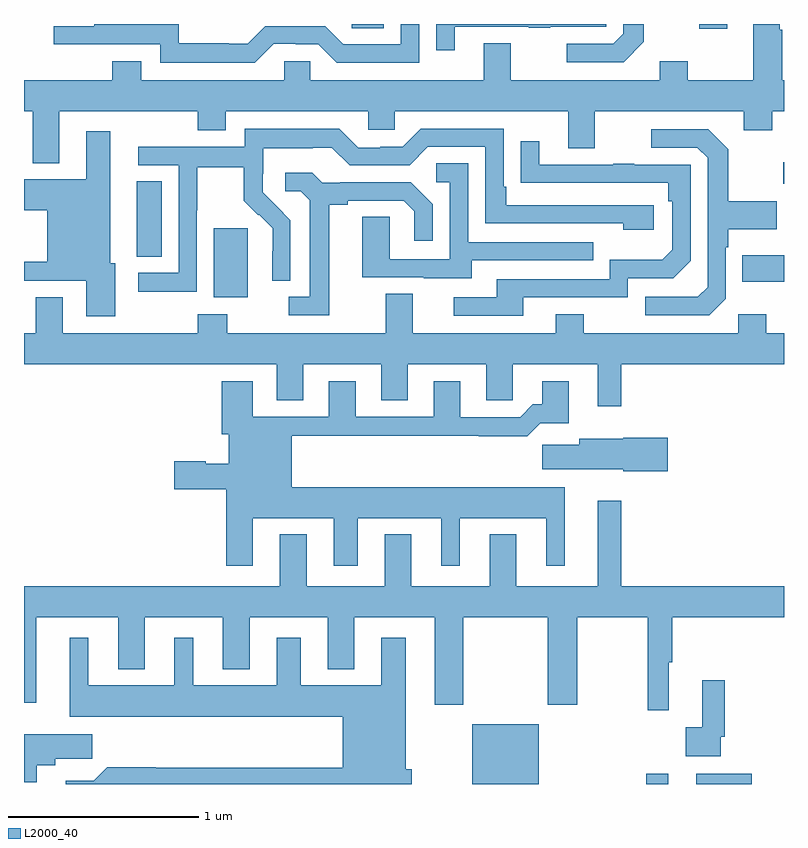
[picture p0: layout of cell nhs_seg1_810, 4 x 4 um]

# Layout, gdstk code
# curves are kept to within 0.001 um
import gdstk
lib = gdstk.Library(unit=1e-6, precision=1e-09)
def R(c, l, rs):  # rectangles x0, y0, x1, y1
    for r in rs: c.add(gdstk.rectangle(r[:2], r[2:], *l))
def P(c, l, *ps):  # polygons
    for p in ps: c.add(gdstk.Polygon(p, *l))
L2000_40 = (2000, 40)

nhs_seg1_810 = lib.new_cell('nhs_seg1_810')
R(nhs_seg1_810, L2000_40, [(157.358,540.199,157.708,540.514), (158.275,540.199,158.392,540.253), (158.537,540.199,158.83,540.253), (155.999,542.762,156.178,543.123), (158.779,542.843,159,542.983), (155.594,542.974,155.725,543.371), (158.997,543.359,159,543.472), (158.553,544.173,158.701,544.199), (156.726,544.177,156.894,544.199)])
P(nhs_seg1_810, L2000_40, [(157.267,544.185),(157.657,544.185),(157.657,544.18),(157.769,544.18),(157.769,544.185),(158.064,544.185),(158.064,544.199),(157.171,544.199),(157.171,544.062),(157.267,544.062)],
  [(155.185,543.74),(155.914,543.74),(155.914,543.641),(156.061,543.641),(156.061,543.74),(156.813,543.74),(156.813,543.642),(156.951,543.642),(156.951,543.74),(157.865,543.74),(157.865,543.546),(158.005,543.546),(158.005,543.74),(158.789,543.74),(158.789,543.641),(158.937,543.641),(158.937,543.74),(159,543.74),(159,543.904),(158.99,543.904),(158.99,544.169),(158.977,544.169),(158.977,544.199),(158.837,544.199),(158.837,543.904),(158.493,543.904),(158.493,544.003),(158.345,544.003),(158.345,543.904),(157.561,543.904),(157.561,544.099),(157.421,544.099),(157.421,543.904),(156.507,543.904),(156.507,544.002),(156.369,544.002),(156.369,543.904),(155.617,543.904),(155.617,544.003),(155.465,544.003),(155.465,543.904),(155,543.904),(155,543.74),(155.045,543.74),(155.045,543.467),(155.185,543.467)],
  [(156.315,544.095),(156.431,544.095),(156.431,544.092),(156.549,544.092),(156.645,543.996),(157.08,543.996),(157.08,544.199),(156.984,544.199),(156.984,544.092),(156.681,544.092),(156.585,544.188),(156.27,544.188),(156.177,544.095),(156.077,544.095),(156.077,544.099),(155.814,544.099),(155.814,544.199),(155.37,544.199),(155.37,544.188),(155.157,544.188),(155.157,544.092),(155.718,544.092),(155.718,543.995),(156.215,543.995)],
  [(158.263,544.105),(158.263,544.199),(158.154,544.199),(158.154,544.149),(158.1,544.095),(157.857,544.095),(157.857,543.999),(158.157,543.999)],
  [(155.91,543.22),(155.913,543.22),(155.913,543.444),(156.157,543.444),(156.157,543.269),(156.234,543.192),(156.237,543.195),(156.308,543.125),(156.308,543.002),(156.306,543.002),(156.306,542.848),(156.402,542.848),(156.402,543.166),(156.256,543.314),(156.256,543.411),(156.258,543.411),(156.258,543.545),(156.521,543.545),(156.521,543.549),(156.621,543.549),(156.714,543.456),(157.029,543.456),(157.125,543.552),(157.428,543.552),(157.428,543.15),(158.153,543.15),(158.153,543.116),(158.314,543.116),(158.314,543.246),(157.537,543.246),(157.537,543.343),(157.524,543.343),(157.524,543.648),(157.089,543.648),(156.993,543.552),(156.875,543.552),(156.875,543.549),(156.759,543.549),(156.659,543.649),(156.162,543.649),(156.162,543.552),(155.601,543.552),(155.601,543.456),(155.814,543.456),(155.814,542.889),(155.601,542.889),(155.601,542.791),(155.91,542.791)],
  [(158.694,542.754),(158.694,543.023),(158.707,543.023),(158.707,543.119),(158.963,543.119),(158.963,543.267),(158.707,543.267),(158.707,543.539),(158.601,543.645),(158.301,543.645),(158.301,543.549),(158.544,543.549),(158.598,543.495),(158.598,542.814),(158.547,542.763),(158.271,542.763),(158.271,542.667),(158.607,542.667)],
  [(155.479,542.94),(155.455,542.94),(155.455,543.634),(155.327,543.634),(155.327,543.382),(155,543.382),(155,543.218),(155.123,543.218),(155.123,542.948),(155,542.948),(155,542.847),(155.327,542.847),(155.327,542.661),(155.479,542.661)],
  [(157.627,542.76),(158.178,542.76),(158.178,542.862),(158.418,542.862),(158.508,542.952),(158.508,543.459),(158.213,543.459),(158.213,543.464),(158.101,543.464),(158.101,543.459),(157.711,543.459),(157.711,543.583),(157.615,543.583),(157.615,543.364),(158.392,543.363),(158.392,543.266),(158.412,543.266),(158.412,543.012),(158.359,542.959),(158.082,542.959),(158.082,542.856),(157.487,542.856),(157.487,542.76),(157.263,542.76),(157.263,542.664),(157.627,542.664)],
  [(157.357,542.955),(157.997,542.955),(157.997,543.051),(157.338,543.051),(157.338,543.467),(157.17,543.467),(157.17,543.366),(157.242,543.366),(157.242,542.961),(156.924,542.961),(156.924,543.185),(156.779,543.185),(156.779,542.865),(157.103,542.865),(157.103,542.861),(157.357,542.861)],
  [(156.607,543.248),(156.703,543.248),(156.703,543.27),(156.998,543.27),(157.055,543.213),(157.055,543.057),(157.152,543.057),(157.152,543.25),(157.036,543.366),(156.664,543.366),(156.664,543.363),(156.57,543.363),(156.518,543.415),(156.375,543.415),(156.375,543.318),(156.456,543.318),(156.503,543.271),(156.503,542.763),(156.393,542.763),(156.393,542.667),(156.607,542.667)],
  [(158.143,542.408),(159,542.408),(159,542.572),(158.907,542.572),(158.907,542.671),(158.76,542.671),(158.76,542.572),(157.947,542.572),(157.947,542.671),(157.799,542.671),(157.799,542.572),(157.045,542.572),(157.045,542.78),(156.905,542.78),(156.905,542.572),(156.069,542.572),(156.069,542.671),(155.914,542.671),(155.914,542.572),(155.203,542.572),(155.203,542.762),(155.063,542.762),(155.063,542.572),(155,542.572),(155,542.408),(156.329,542.408),(156.329,542.218),(156.469,542.218),(156.469,542.408),(156.881,542.408),(156.881,542.218),(157.021,542.218),(157.021,542.408),(157.433,542.408),(157.433,542.218),(157.572,542.218),(157.572,542.408),(158.021,542.408),(158.021,542.187),(158.143,542.187)],
  [(156.205,541.598),(156.629,541.598),(156.629,541.347),(156.757,541.347),(156.757,541.598),(157.196,541.598),(157.196,541.347),(157.294,541.347),(157.294,541.598),(157.748,541.598),(157.748,541.347),(157.846,541.347),(157.846,541.762),(156.409,541.762),(156.409,542.032),(157.393,542.032),(157.393,542.03),(157.649,542.03),(157.718,542.099),(157.867,542.099),(157.867,542.32),(157.727,542.32),(157.727,542.197),(157.678,542.197),(157.611,542.13),(157.297,542.13),(157.297,542.32),(157.157,542.32),(157.157,542.133),(156.745,542.133),(156.745,542.32),(156.605,542.32),(156.605,542.133),(156.205,542.133),(156.205,542.32),(156.041,542.32),(156.041,542.04),(156.077,542.04),(156.077,541.885),(155.957,541.885),(155.957,541.898),(155.79,541.898),(155.79,541.751),(156.065,541.751),(156.065,541.347),(156.205,541.347)],
  [(158.389,542.022),(158.154,542.022),(158.154,542.017),(157.922,542.017),(157.922,541.985),(157.728,541.985),(157.728,541.856),(158.154,541.856),(158.154,541.844),(158.389,541.844)],
  [(158.393,540.84),(158.411,540.84),(158.411,541.076),(159,541.076),(159,541.24),(158.143,541.24),(158.143,541.69),(158.021,541.69),(158.021,541.24),(157.591,541.24),(157.591,541.513),(157.451,541.513),(157.451,541.24),(157.039,541.24),(157.039,541.513),(156.899,541.513),(156.899,541.24),(156.487,541.24),(156.487,541.513),(156.347,541.513),(156.347,541.24),(155,541.24),(155,540.627),(155.065,540.627),(155.065,541.076),(155.495,541.076),(155.495,540.803),(155.635,540.803),(155.635,541.076),(156.047,541.076),(156.047,540.803),(156.187,540.803),(156.187,541.076),(156.599,541.076),(156.599,540.803),(156.739,540.803),(156.739,541.076),(157.163,541.076),(157.163,540.615),(157.311,540.615),(157.311,541.076),(157.756,541.076),(157.756,540.615),(157.911,540.615),(157.911,541.076),(158.283,541.076),(158.283,540.588),(158.393,540.588)],
  [(157.041,540.276),(157.009,540.276),(157.009,540.97),(156.881,540.97),(156.881,540.718),(156.457,540.718),(156.457,540.97),(156.329,540.97),(156.329,540.718),(155.89,540.718),(155.89,540.97),(155.792,540.97),(155.792,540.718),(155.338,540.718),(155.338,540.97),(155.24,540.97),(155.24,540.554),(156.677,540.554),(156.677,540.284),(155.693,540.284),(155.693,540.287),(155.438,540.287),(155.368,540.217),(155.219,540.217),(155.219,540.199),(157.041,540.199)],
  [(158.667,540.448),(158.687,540.448),(158.687,540.745),(158.57,540.745),(158.57,540.497),(158.484,540.497),(158.484,540.344),(158.667,540.344)],
  [(155.068,540.299),(155.164,540.299),(155.164,540.331),(155.359,540.331),(155.359,540.46),(155,540.46),(155,540.209),(155.068,540.209)])

lib.write_gds('nhs_seg1_810.gds')
